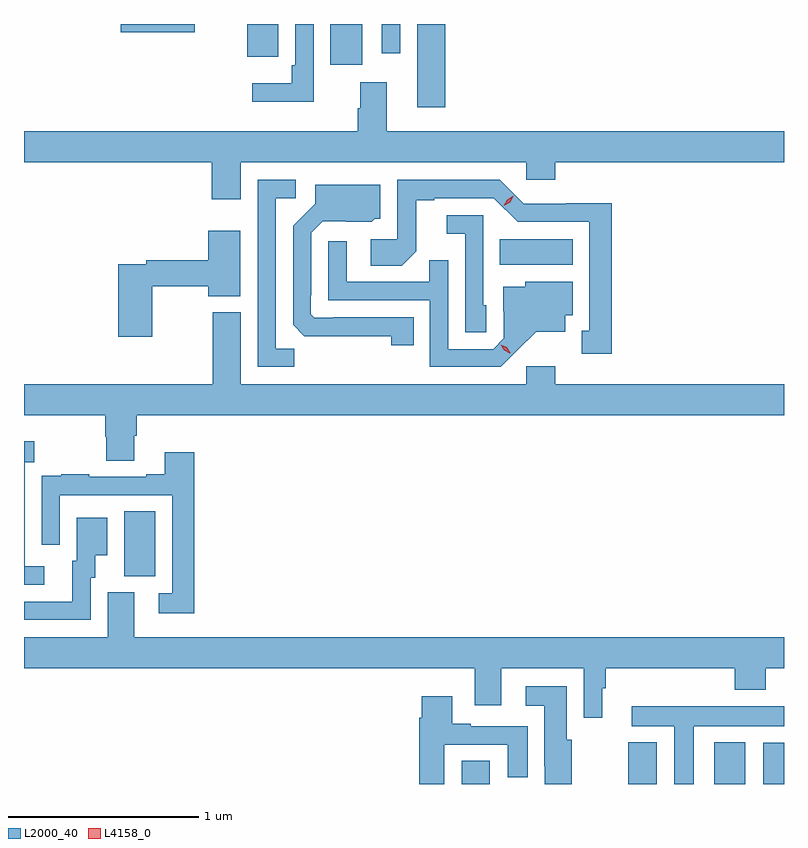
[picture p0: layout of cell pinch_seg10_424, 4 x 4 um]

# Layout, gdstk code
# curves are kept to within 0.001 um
import gdstk
lib = gdstk.Library(unit=1e-6, precision=1e-09)
def R(c, l, rs):  # rectangles x0, y0, x1, y1
    for r in rs: c.add(gdstk.rectangle(r[:2], r[2:], *l))
def P(c, l, *ps):  # polygons
    for p in ps: c.add(gdstk.Polygon(p, *l))
L2000_40 = (2000, 40)
L4158_0 = (4158, 0)

pinch_seg10_424 = lib.new_cell('pinch_seg10_424')
R(pinch_seg10_424, L2000_40, [(352.286,1298.376,352.435,1298.498), (353.164,1298.376,353.314,1298.596), (353.615,1298.376,353.779,1298.596), (353.873,1298.376,353.983,1298.593), (350.51,1299.469,350.674,1299.812), (352.486,1301.108,352.87,1301.242), (352.052,1301.937,352.199,1302.376), (351.596,1302.162,351.763,1302.376), (351.158,1302.203,351.322,1302.376), (351.867,1302.222,351.963,1302.376), (350.492,1302.332,350.881,1302.376)])
P(pinch_seg10_424, L2000_40, [(351.507,1302.376),(351.411,1302.376),(351.411,1302.16),(351.391,1302.16),(351.391,1302.064),(351.183,1302.064),(351.183,1301.966),(351.507,1301.966)],
  [(351.892,1302.07),(351.752,1302.07),(351.752,1301.933),(351.74,1301.933),(351.74,1301.812),(349.983,1301.812),(349.983,1301.648),(350.972,1301.648),(350.972,1301.454),(351.124,1301.454),(351.124,1301.648),(352.626,1301.648),(352.626,1301.555),(352.778,1301.555),(352.778,1301.648),(353.983,1301.648),(353.983,1301.812),(351.892,1301.812)],
  [(353.077,1301.432),(352.836,1301.432),(352.836,1301.43),(352.614,1301.43),(352.488,1301.556),(351.948,1301.556),(351.948,1301.244),(351.807,1301.244),(351.807,1301.104),(351.971,1301.104),(352.047,1301.18),(352.047,1301.448),(352.141,1301.448),(352.141,1301.46),(352.455,1301.46),(352.581,1301.334),(352.958,1301.334),(352.958,1300.761),(352.919,1300.761),(352.919,1300.641),(353.077,1300.641)],
  [(351.405,1300.667),(351.309,1300.667),(351.309,1301.46),(351.412,1301.46),(351.412,1301.556),(351.213,1301.556),(351.213,1300.572),(351.405,1300.572)],
  [(352.034,1300.833),(351.61,1300.833),(351.61,1300.83),(351.51,1300.83),(351.492,1300.848),(351.492,1300.948),(351.495,1300.948),(351.495,1301.277),(351.555,1301.337),(351.812,1301.336),(351.828,1301.352),(351.859,1301.352),(351.859,1301.53),(351.515,1301.53),(351.515,1301.43),(351.399,1301.314),(351.399,1300.792),(351.458,1300.733),(351.916,1300.732),(351.916,1300.686),(352.034,1300.686)],
  [(352.416,1300.896),(352.401,1300.896),(352.401,1301.37),(352.209,1301.37),(352.209,1301.273),(352.305,1301.273),(352.305,1300.753),(352.416,1300.753)],
  [(350.658,1300.996),(350.954,1300.996),(350.954,1300.943),(351.121,1300.943),(351.121,1301.287),(350.954,1301.287),(350.954,1301.132),(350.626,1301.132),(350.626,1301.112),(350.48,1301.112),(350.48,1300.731),(350.658,1300.731)],
  [(352.576,1300.655),(352.679,1300.757),(352.831,1300.757),(352.831,1300.844),(352.87,1300.844),(352.87,1301.02),(352.62,1301.02),(352.62,1300.993),(352.505,1300.993),(352.505,1300.864),(352.509,1300.864),(352.509,1300.722),(352.452,1300.665),(352.215,1300.665),(352.215,1301.132),(352.117,1301.132),(352.117,1301.019),(351.681,1301.019),(351.681,1301.233),(351.585,1301.233),(351.585,1300.923),(352.119,1300.923),(352.119,1300.572),(352.492,1300.572)],
  [(350.563,1300.21),(350.576,1300.21),(350.576,1300.316),(353.983,1300.316),(353.983,1300.48),(352.778,1300.48),(352.778,1300.576),(352.626,1300.576),(352.626,1300.48),(351.124,1300.48),(351.124,1300.858),(350.977,1300.858),(350.977,1300.48),(349.983,1300.48),(349.983,1300.316),(350.411,1300.316),(350.411,1300.203),(350.416,1300.203),(350.416,1300.078),(350.563,1300.078)],
  [(350.089,1299.522),(349.986,1299.522),(349.986,1300.07),(350.038,1300.07),(350.038,1300.18),(349.983,1300.18),(349.983,1299.426),(350.089,1299.426)],
  [(350.879,1300.123),(350.723,1300.123),(350.723,1300.006),(350.627,1300.006),(350.627,1299.993),(350.327,1299.993),(350.327,1300.006),(350.179,1300.006),(350.179,1299.999),(350.077,1299.999),(350.077,1299.89),(350.076,1299.89),(350.076,1299.636),(350.172,1299.636),(350.172,1299.897),(350.763,1299.897),(350.763,1299.381),(350.691,1299.381),(350.691,1299.276),(350.879,1299.276)],
  [(350.334,1299.462),(350.359,1299.462),(350.359,1299.581),(350.422,1299.581),(350.422,1299.778),(350.261,1299.778),(350.261,1299.552),(350.237,1299.552),(350.237,1299.336),(349.983,1299.336),(349.983,1299.24),(350.334,1299.24)],
  [(353.026,1298.881),(353.045,1298.881),(353.045,1298.984),(353.723,1298.984),(353.723,1298.873),(353.888,1298.873),(353.888,1298.984),(353.983,1298.984),(353.983,1299.148),(350.563,1299.148),(350.563,1299.384),(350.423,1299.384),(350.423,1299.148),(349.983,1299.148),(349.983,1298.984),(352.355,1298.984),(352.355,1298.79),(352.495,1298.79),(352.495,1298.984),(352.929,1298.984),(352.929,1298.724),(353.026,1298.724)],
  [(352.866,1298.377),(352.866,1298.61),(352.84,1298.61),(352.84,1298.89),(352.623,1298.89),(352.623,1298.789),(352.721,1298.789),(352.721,1298.47),(352.725,1298.47),(352.725,1298.376),(352.865,1298.376)],
  [(352.195,1298.583),(352.529,1298.583),(352.529,1298.412),(352.633,1298.412),(352.633,1298.679),(352.333,1298.679),(352.333,1298.692),(352.237,1298.692),(352.237,1298.839),(352.076,1298.839),(352.076,1298.726),(352.064,1298.726),(352.064,1298.376),(352.195,1298.376)],
  [(353.509,1298.681),(353.983,1298.681),(353.983,1298.785),(353.181,1298.785),(353.181,1298.681),(353.405,1298.681),(353.405,1298.376),(353.509,1298.376)])
P(pinch_seg10_424, L4158_0, [(352.509,1301.419),(352.509,1301.419),(352.527,1301.452),(352.559,1301.471),(352.559,1301.471),(352.559,1301.471),(352.541,1301.438),(352.509,1301.419)],
  [(352.54,1300.644),(352.51,1300.659),(352.492,1300.688),(352.492,1300.688),(352.492,1300.688),(352.523,1300.674),(352.541,1300.645),(352.541,1300.644)])

lib.write_gds('pinch_seg10_424.gds')
